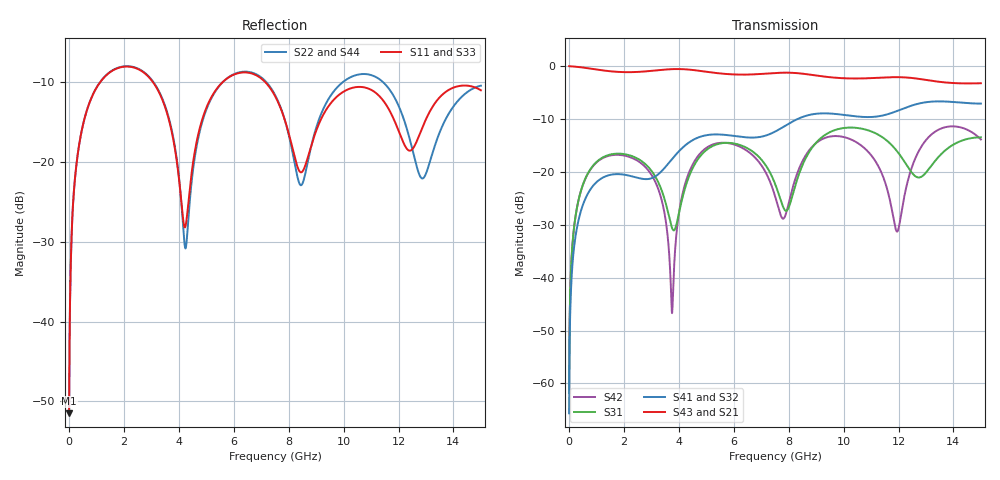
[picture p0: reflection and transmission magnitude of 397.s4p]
! Created with skrf 1.8.0 (http://scikit-rf.org).
# GHz S RI R 50.0
!freq ReS11 ImS11 ReS12 ImS12 ReS13 ImS13
! ReS14 ImS14
! ReS21 ImS21 ReS22 ImS22 ReS23 ImS23
! ReS24 ImS24
! ReS31 ImS31 ReS32 ImS32 ReS33 ImS33
! ReS34 ImS34
! ReS41 ImS41 ReS42 ImS42 ReS43 ImS43
! ReS44 ImS44
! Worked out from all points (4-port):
!   2499 points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, 5 MHz to 15 GHz, reference 50 ohm
!   strongest paths, dB at 5 MHz, 3.476 GHz, 7.19 GHz, 11.1 GHz, 15 GHz:
!     S43: 0.0, -0.7, -1.4, -2.3, -3.2
!     S21: 0.0, -0.7, -1.4, -2.3, -3.2
!     S41: -65.7, -19.3, -13.1, -9.6, -7.1
!     S32: -65.7, -19.3, -13.1, -9.6, -7.1
!     S31: -61.8, -25.1, -19.0, -12.5, -13.5
!     S42: -61.8, -27.8, -20.4, -17.5, -13.9
!   lowest |S11| = -51.5 dB at 5 MHz (marker M1), VSWR 1.01, Z = 50.2 + j0.162 ohm
!   |S11| at or under -10 dB: start of sweep to 1.139 GHz; 3.055 GHz to 5.599 GHz (2.544 GHz wide, 58.8 % of centre); 7.145 GHz to end of sweep
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0.005  0.00212 0.00162  0.9978 -0.00412  0.000107 0.000805  -0.000104 -0.000511
       0.9978 -0.00412  0.00212 0.00162  -0.000104 -0.000511  0.000107 0.000805
       0.000107 0.000805  -0.000104 -0.000511  0.00212 0.00162  0.9978 -0.00412
       -0.000104 -0.000511  0.000107 0.000805  0.9978 -0.00412  0.00212 0.00162
1.269279  0.2891 0.1724  0.5084 -0.7515  0.1302 0.0475  -0.0892 -0.000152
          0.5084 -0.7515  0.2912 0.1708  -0.0892 -0.000181  0.1242 0.0565
          0.1302 0.0475  -0.0892 -0.000181  0.2891 0.1724  0.5085 -0.7515
          -0.0892 -0.000152  0.1242 0.0565  0.5085 -0.7515  0.2911 0.1708
3.751563  0.0837 -0.1266  -0.8467 -0.397  -0.0252 -0.0155  -0.0518 0.1214
          -0.8467 -0.397  0.0761 -0.1356  -0.0521 0.1212  0.00451 0.000952
          -0.0252 -0.0155  -0.0521 0.1212  0.0835 -0.1263  -0.8467 -0.3971
          -0.0518 0.1214  0.00451 0.000952  -0.8467 -0.3971  0.076 -0.1353
4.852022  0.1251 0.1352  -0.8173 0.3641  0.0955 0.1129  0.1175 0.183
          -0.8173 0.3641  0.1147 0.1357  0.117 0.1833  0.1107 0.1105
          0.0955 0.1129  0.117 0.1833  0.125 0.1353  -0.8174 0.3638
          0.1175 0.183  0.1107 0.1105  -0.8174 0.3638  0.1145 0.1356
8.434764  0.0853 -0.012  0.8391 0.1438  -0.00171 0.1048  0.0468 -0.3216
          0.8391 0.1438  0.0709 -0.00938  0.0478 -0.3211  -0.0161 0.1148
          -0.00171 0.1048  0.0478 -0.3211  0.088 -0.00841  0.8391 0.1439
          0.0468 -0.3216  -0.0161 0.1148  0.8391 0.1439  0.067 -0.00702
11.21092  0.2584 -0.0679  -0.1425 -0.7602  0.0884 -0.2105  -0.3133 0.1143
          -0.1425 -0.7602  0.3139 -0.1237  -0.3134 0.1108  0.1102 -0.0472
          0.0884 -0.2105  -0.3134 0.1108  0.2575 -0.0714  -0.1404 -0.761
          -0.3133 0.1143  0.1102 -0.0472  -0.1404 -0.761  0.3134 -0.1184
15  0.2762 -0.0506  -0.1632 0.6707  0.1371 -0.1619  0.4406 0.0316
    -0.1632 0.6707  0.3 0.00575  0.4391 0.0372  0.1841 -0.0841
    0.1371 -0.1619  0.4391 0.0372  0.2844 -0.0517  -0.1682 0.6674
    0.4406 0.0316  0.1841 -0.0841  -0.1682 0.6674  0.3038 0.0129
